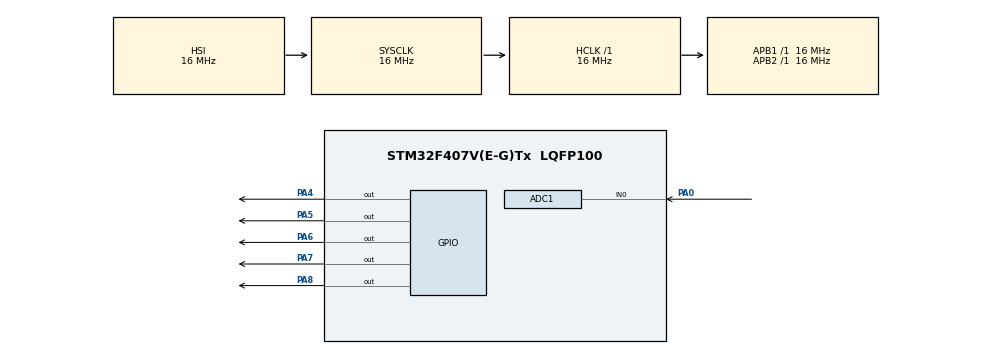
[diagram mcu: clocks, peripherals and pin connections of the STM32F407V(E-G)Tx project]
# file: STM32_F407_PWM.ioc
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ADC1.Channel-0\#ChannelRegularConversion=ADC_CHANNEL_0
ADC1.ContinuousConvMode=ENABLE
ADC1.NbrOfConversionFlag=1
ADC1.Rank-0\#ChannelRegularConversion=1
ADC1.SamplingTime-0\#ChannelRegularConversion=ADC_SAMPLETIME_480CYCLES
ADC1.ScanConvMode=ENABLE
ADC1.master=1
Mcu.Family=STM32F4
Mcu.Name=STM32F407V(E-G)Tx
Mcu.Package=LQFP100
NVIC.PriorityGroup=NVIC_PRIORITYGROUP_4
PA0-WKUP.Signal=ADCx_IN0
PA4.Signal=GPIO_Output
PA5.Signal=GPIO_Output
PA6.Signal=GPIO_Output
PA7.Signal=GPIO_Output
PA8.Signal=GPIO_Output
ProjectManager.HeapSize=0x200
ProjectManager.StackSize=0x400
ProjectManager.TargetToolchain=STM32CubeIDE
RCC.AHBFreq_Value=16000000
RCC.APB1Freq_Value=16000000
RCC.APB2Freq_Value=16000000
RCC.CortexFreq_Value=16000000
RCC.HSE_VALUE=25000000
RCC.HSI_VALUE=16000000
RCC.LSE_VALUE=32768
RCC.SYSCLKFreq_VALUE=16000000
RCC.VCOOutputFreq_Value=192000000
SH.ADCx_IN0.0=ADC1_IN0,IN0
board=custom

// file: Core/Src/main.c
/* USER CODE BEGIN Header */
/**
  ******************************************************************************
  * @file           : main.c
  * @brief          : Main program body
  ******************************************************************************
  * @attention
  *
  * Copyright (c) 2023 STMicroelectronics.
  * All rights reserved.
  *
  * This software is licensed under terms that can be found in the LICENSE file
  * in the root directory of this software component.
  * If no LICENSE file comes with this software, it is provided AS-IS.
  *
  ******************************************************************************
  */
/* USER CODE END Header */
#include "main.h"

ADC_HandleTypeDef hadc1;

/* USER CODE BEGIN PV */
uint32_t ADC_Var;

/* USER CODE END PV */

void SystemClock_Config(void);
static void MX_GPIO_Init(void);
static void MX_ADC1_Init(void);

int main(void)
{

  /* MCU Configuration--------------------------------------------------------*/

  /* Reset of all peripherals, Initializes the Flash interface and the Systick. */
  HAL_Init();

  /* Configure the system clock */
  SystemClock_Config();

  /* Initialize all configured peripherals */
  MX_GPIO_Init();
  MX_ADC1_Init();
  /* USER CODE BEGIN 2 */
  HAL_ADC_Start(&hadc1);

  /* USER CODE END 2 */

  /* Infinite loop */
  /* USER CODE BEGIN WHILE */
  while (1)
  {

	  ADC_Var = HAL_ADC_GetValue(&hadc1);

	  if(ADC_Var < 1000)
		 	  {
		 		HAL_GPIO_WritePin(GPIOA, GPIO_PIN_4, GPIO_PIN_SET);
		 		HAL_GPIO_WritePin(GPIOA, GPIO_PIN_5, GPIO_PIN_SET);
		 		HAL_GPIO_WritePin(GPIOA, GPIO_PIN_6, GPIO_PIN_RESET);
		 		HAL_GPIO_WritePin(GPIOA, GPIO_PIN_7, GPIO_PIN_RESET);
		 		HAL_GPIO_WritePin(GPIOA, GPIO_PIN_8, GPIO_PIN_RESET);

		 	  }
		 	  else if(ADC_Var > 1001 && ADC_Var < 2000)
		 	  {
		 		  HAL_GPIO_WritePin(GPIOA, GPIO_PIN_5, GPIO_PIN_RESET);
		 		  HAL_GPIO_WritePin(GPIOA, GPIO_PIN_4, GPIO_PIN_RESET);
		 		  HAL_GPIO_WritePin(GPIOA, GPIO_PIN_6, GPIO_PIN_SET);
		 		  HAL_GPIO_WritePin(GPIOA, GPIO_PIN_7, GPIO_PIN_SET);
		 		  HAL_GPIO_WritePin(GPIOA, GPIO_PIN_8, GPIO_PIN_RESET);

		 	  }
		 	  else if(ADC_Var > 2001 && ADC_Var < 3000)
		 	  {
		 		  HAL_GPIO_WritePin(GPIOA, GPIO_PIN_6, GPIO_PIN_RESET);
		 		  HAL_GPIO_WritePin(GPIOA, GPIO_PIN_5, GPIO_PIN_RESET);
		 		  HAL_GPIO_WritePin(GPIOA, GPIO_PIN_4, GPIO_PIN_RESET);
		 		  HAL_GPIO_WritePin(GPIOA, GPIO_PIN_7, GPIO_PIN_RESET);
		 		  HAL_GPIO_WritePin(GPIOA, GPIO_PIN_8, GPIO_PIN_SET);
		 	  }
		 	  else if(ADC_Var > 3001 && ADC_Var < 4000)
		 	 	  {
		 	 		  HAL_GPIO_WritePin(GPIOA, GPIO_PIN_7, GPIO_PIN_SET);
		 	 		  HAL_GPIO_WritePin(GPIOA, GPIO_PIN_5, GPIO_PIN_RESET);
		 	 		  HAL_GPIO_WritePin(GPIOA, GPIO_PIN_6, GPIO_PIN_RESET);
		 	   		  HAL_GPIO_WritePin(GPIOA, GPIO_PIN_4, GPIO_PIN_RESET);
		 	 	 	  HAL_GPIO_WritePin(GPIOA, GPIO_PIN_8, GPIO_PIN_RESET);
		 	 	  }
		 	  else if(ADC_Var > 4001 )
		 	 	  {
		 	 		  HAL_GPIO_WritePin(GPIOA, GPIO_PIN_8, GPIO_PIN_SET);
		 	 		  HAL_GPIO_WritePin(GPIOA, GPIO_PIN_5, GPIO_PIN_RESET);
		 	 	      HAL_GPIO_WritePin(GPIOA, GPIO_PIN_6, GPIO_PIN_RESET);
		 	 		  HAL_GPIO_WritePin(GPIOA, GPIO_PIN_7, GPIO_PIN_RESET);
		 	 		  HAL_GPIO_WritePin(GPIOA, GPIO_PIN_4, GPIO_PIN_RESET);
		 	 	  }

    /* USER CODE END WHILE */

  }
}

void SystemClock_Config(void)
{
  RCC_OscInitTypeDef RCC_OscInitStruct = {0};
  RCC_ClkInitTypeDef RCC_ClkInitStruct = {0};

  /** Configure the main internal regulator output voltage
  */
  __HAL_RCC_PWR_CLK_ENABLE();
  __HAL_PWR_VOLTAGESCALING_CONFIG(PWR_REGULATOR_VOLTAGE_SCALE1);

  /** Initializes the RCC Oscillators according to the specified parameters
  * in the RCC_OscInitTypeDef structure.
  */
  RCC_OscInitStruct.OscillatorType = RCC_OSCILLATORTYPE_HSI;
  RCC_OscInitStruct.HSIState = RCC_HSI_ON;
  RCC_OscInitStruct.HSICalibrationValue = RCC_HSICALIBRATION_DEFAULT;
  RCC_OscInitStruct.PLL.PLLState = RCC_PLL_NONE;
  if (HAL_RCC_OscConfig(&RCC_OscInitStruct) != HAL_OK)
  {
    Error_Handler();
  }

  /** Initializes the CPU, AHB and APB buses clocks
  */
  RCC_ClkInitStruct.ClockType = RCC_CLOCKTYPE_HCLK|RCC_CLOCKTYPE_SYSCLK
                              |RCC_CLOCKTYPE_PCLK1|RCC_CLOCKTYPE_PCLK2;
  RCC_ClkInitStruct.SYSCLKSource = RCC_SYSCLKSOURCE_HSI;
  RCC_ClkInitStruct.AHBCLKDivider = RCC_SYSCLK_DIV1;
  RCC_ClkInitStruct.APB1CLKDivider = RCC_HCLK_DIV1;
  RCC_ClkInitStruct.APB2CLKDivider = RCC_HCLK_DIV1;

  if (HAL_RCC_ClockConfig(&RCC_ClkInitStruct, FLASH_LATENCY_0) != HAL_OK)
  {
    Error_Handler();
  }
}

static void MX_ADC1_Init(void)
{

  ADC_ChannelConfTypeDef sConfig = {0};

  /** Configure the global features of the ADC (Clock, Resolution, Data Alignment and number of conversion)
  */
  hadc1.Instance = ADC1;
  hadc1.Init.ClockPrescaler = ADC_CLOCK_SYNC_PCLK_DIV2;
  hadc1.Init.Resolution = ADC_RESOLUTION_12B;
  hadc1.Init.ScanConvMode = ENABLE;
  hadc1.Init.ContinuousConvMode = ENABLE;
  hadc1.Init.DiscontinuousConvMode = DISABLE;
  hadc1.Init.ExternalTrigConvEdge = ADC_EXTERNALTRIGCONVEDGE_NONE;
  hadc1.Init.ExternalTrigConv = ADC_SOFTWARE_START;
  hadc1.Init.DataAlign = ADC_DATAALIGN_RIGHT;
  hadc1.Init.NbrOfConversion = 1;
  hadc1.Init.DMAContinuousRequests = DISABLE;
  hadc1.Init.EOCSelection = ADC_EOC_SINGLE_CONV;
  if (HAL_ADC_Init(&hadc1) != HAL_OK)
  {
    Error_Handler();
  }

  /** Configure for the selected ADC regular channel its corresponding rank in the sequencer and its sample time.
  */
  sConfig.Channel = ADC_CHANNEL_0;
  sConfig.Rank = 1;
  sConfig.SamplingTime = ADC_SAMPLETIME_480CYCLES;
  if (HAL_ADC_ConfigChannel(&hadc1, &sConfig) != HAL_OK)
  {
    Error_Handler();
  }

}

static void MX_GPIO_Init(void)
{
  GPIO_InitTypeDef GPIO_InitStruct = {0};

  /* GPIO Ports Clock Enable */
  __HAL_RCC_GPIOA_CLK_ENABLE();

  /*Configure GPIO pin Output Level */
  HAL_GPIO_WritePin(GPIOA, GPIO_PIN_4|GPIO_PIN_5|GPIO_PIN_6|GPIO_PIN_7
                          |GPIO_PIN_8, GPIO_PIN_RESET);

  /*Configure GPIO pins : PA4 PA5 PA6 PA7
                           PA8 */
  GPIO_InitStruct.Pin = GPIO_PIN_4|GPIO_PIN_5|GPIO_PIN_6|GPIO_PIN_7
                          |GPIO_PIN_8;
  GPIO_InitStruct.Mode = GPIO_MODE_OUTPUT_PP;
  GPIO_InitStruct.Pull = GPIO_NOPULL;
  GPIO_InitStruct.Speed = GPIO_SPEED_FREQ_LOW;
  HAL_GPIO_Init(GPIOA, &GPIO_InitStruct);

}

void Error_Handler(void)
{
  __disable_irq();
  while (1)
  {
  }
}
